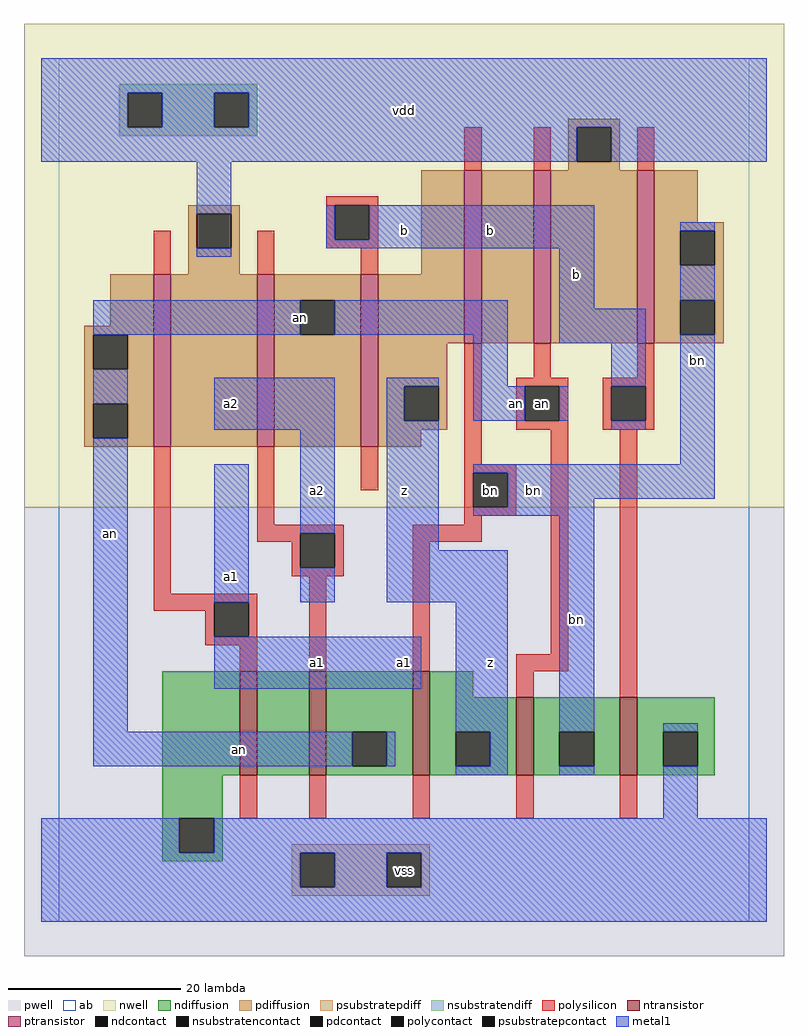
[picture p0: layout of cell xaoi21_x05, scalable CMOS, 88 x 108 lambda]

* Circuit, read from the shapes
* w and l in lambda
.subckt xaoi21_x05 a1 a2 an b bn vdd vss z
M1 n1 a1 vss vss nfet w=12 l=2
M2 an a2 n1 vss nfet w=12 l=2
M3 z bn an vss nfet w=12 l=2
M4 bn an z vss nfet w=9 l=2
M5 vss b bn vss nfet w=9 l=2
M6 vdd a1 an vdd pfet w=20 l=2
M7 an a2 vdd vdd pfet w=20 l=2
M8 z b an vdd pfet w=20 l=2
M9 n2 bn z vdd pfet w=20 l=2
M10 vdd an n2 vdd pfet w=20 l=2
M11 bn b vdd vdd pfet w=20 l=2
.ends

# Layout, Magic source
magic
tech scmos
<< ab >>
rect 0 0 80 100
<< pwell >>
rect -4 -4 84 48
<< nwell >>
rect -4 48 84 104
<< polysilicon >>
rect 47 87 49 92
rect 55 87 57 92
rect 67 87 69 92
rect 31 83 37 84
rect 11 75 13 80
rect 23 75 25 80
rect 31 79 32 83
rect 36 79 37 83
rect 31 78 37 79
rect 35 75 37 78
rect 11 38 13 55
rect 23 46 25 55
rect 35 50 37 55
rect 47 53 49 67
rect 55 63 57 67
rect 67 63 69 67
rect 53 62 59 63
rect 53 58 54 62
rect 58 58 59 62
rect 53 57 59 58
rect 63 62 69 63
rect 63 58 64 62
rect 68 58 69 62
rect 63 57 69 58
rect 47 52 53 53
rect 47 48 48 52
rect 52 48 53 52
rect 47 47 53 48
rect 47 46 49 47
rect 23 45 33 46
rect 23 44 28 45
rect 27 41 28 44
rect 32 41 33 45
rect 27 40 33 41
rect 41 44 49 46
rect 11 37 23 38
rect 11 36 18 37
rect 17 33 18 36
rect 22 33 23 37
rect 17 32 23 33
rect 21 29 23 32
rect 29 29 31 40
rect 41 29 43 44
rect 57 31 59 57
rect 53 29 59 31
rect 53 26 55 29
rect 65 26 67 57
rect 21 12 23 17
rect 29 12 31 17
rect 41 12 43 17
rect 53 12 55 17
rect 65 12 67 17
<< ndiffusion >>
rect 12 17 21 29
rect 23 17 29 29
rect 31 22 41 29
rect 31 18 34 22
rect 38 18 41 22
rect 31 17 41 18
rect 43 26 48 29
rect 43 22 53 26
rect 43 18 46 22
rect 50 18 53 22
rect 43 17 53 18
rect 55 22 65 26
rect 55 18 58 22
rect 62 18 65 22
rect 55 17 65 18
rect 67 22 76 26
rect 67 18 70 22
rect 74 18 76 22
rect 67 17 76 18
rect 12 12 19 17
rect 12 8 14 12
rect 18 8 19 12
rect 12 7 19 8
<< pdiffusion >>
rect 59 92 65 93
rect 59 88 60 92
rect 64 88 65 92
rect 59 87 65 88
rect 15 82 21 83
rect 15 78 16 82
rect 20 78 21 82
rect 15 75 21 78
rect 42 75 47 87
rect 6 69 11 75
rect 3 68 11 69
rect 3 64 4 68
rect 8 64 11 68
rect 3 60 11 64
rect 3 56 4 60
rect 8 56 11 60
rect 3 55 11 56
rect 13 55 23 75
rect 25 72 35 75
rect 25 68 28 72
rect 32 68 35 72
rect 25 55 35 68
rect 37 67 47 75
rect 49 67 55 87
rect 57 67 67 87
rect 69 81 74 87
rect 69 80 77 81
rect 69 76 72 80
rect 76 76 77 80
rect 69 72 77 76
rect 69 68 72 72
rect 76 68 77 72
rect 69 67 77 68
rect 37 62 45 67
rect 37 58 40 62
rect 44 58 45 62
rect 37 57 45 58
rect 37 55 42 57
<< metal1 >>
rect -2 96 82 100
rect -2 92 8 96
rect 12 92 18 96
rect 22 92 82 96
rect -2 88 60 92
rect 64 88 82 92
rect 16 82 20 88
rect 31 79 32 83
rect 36 79 62 83
rect 31 78 62 79
rect 16 77 20 78
rect 4 68 28 72
rect 32 68 52 72
rect 4 60 8 64
rect 18 57 32 63
rect 4 22 8 56
rect 18 37 22 53
rect 28 45 32 57
rect 28 37 32 41
rect 38 62 44 63
rect 38 58 40 62
rect 48 62 52 68
rect 58 71 62 78
rect 72 80 76 81
rect 72 72 76 76
rect 58 67 68 71
rect 64 62 68 67
rect 48 58 54 62
rect 58 58 59 62
rect 38 43 44 58
rect 64 57 68 58
rect 72 53 76 68
rect 48 52 76 53
rect 52 49 76 52
rect 52 48 62 49
rect 48 47 62 48
rect 38 37 52 43
rect 18 27 42 33
rect 46 22 52 37
rect 4 18 34 22
rect 38 18 39 22
rect 50 18 52 22
rect 46 17 52 18
rect 58 22 62 47
rect 58 17 62 18
rect 70 22 74 23
rect 70 12 74 18
rect -2 8 14 12
rect 18 8 82 12
rect -2 4 28 8
rect 32 4 38 8
rect 42 4 82 8
rect -2 0 82 4
<< ntransistor >>
rect 21 17 23 29
rect 29 17 31 29
rect 41 17 43 29
rect 53 17 55 26
rect 65 17 67 26
<< ptransistor >>
rect 11 55 13 75
rect 23 55 25 75
rect 35 55 37 75
rect 47 67 49 87
rect 55 67 57 87
rect 67 67 69 87
<< polycontact >>
rect 32 79 36 83
rect 54 58 58 62
rect 64 58 68 62
rect 48 48 52 52
rect 28 41 32 45
rect 18 33 22 37
<< ndcontact >>
rect 34 18 38 22
rect 46 18 50 22
rect 58 18 62 22
rect 70 18 74 22
rect 14 8 18 12
<< pdcontact >>
rect 60 88 64 92
rect 16 78 20 82
rect 4 64 8 68
rect 4 56 8 60
rect 28 68 32 72
rect 72 76 76 80
rect 72 68 76 72
rect 40 58 44 62
<< psubstratepcontact >>
rect 28 4 32 8
rect 38 4 42 8
<< nsubstratencontact >>
rect 8 92 12 96
rect 18 92 22 96
<< psubstratepdiff >>
rect 27 8 43 9
rect 27 4 28 8
rect 32 4 38 8
rect 42 4 43 8
rect 27 3 43 4
<< nsubstratendiff >>
rect 7 96 23 97
rect 7 92 8 96
rect 12 92 18 96
rect 22 92 23 96
rect 7 91 23 92
<< labels >>
rlabel polycontact 50 50 50 50 6 bn
rlabel polycontact 56 60 56 60 6 an
rlabel metal1 6 45 6 45 6 an
rlabel metal1 20 40 20 40 6 a1
rlabel metal1 20 60 20 60 6 a2
rlabel psubstratepcontact 40 6 40 6 6 vss
rlabel metal1 21 20 21 20 6 an
rlabel metal1 30 30 30 30 6 a1
rlabel metal1 40 30 40 30 6 a1
rlabel metal1 30 50 30 50 6 a2
rlabel metal1 40 50 40 50 6 z
rlabel metal1 40 80 40 80 6 b
rlabel metal1 40 94 40 94 6 vdd
rlabel metal1 50 30 50 30 6 z
rlabel metal1 60 35 60 35 6 bn
rlabel metal1 55 50 55 50 6 bn
rlabel metal1 53 60 53 60 6 an
rlabel metal1 28 70 28 70 6 an
rlabel metal1 60 75 60 75 6 b
rlabel metal1 50 80 50 80 6 b
rlabel metal1 74 65 74 65 6 bn
<< end >>
